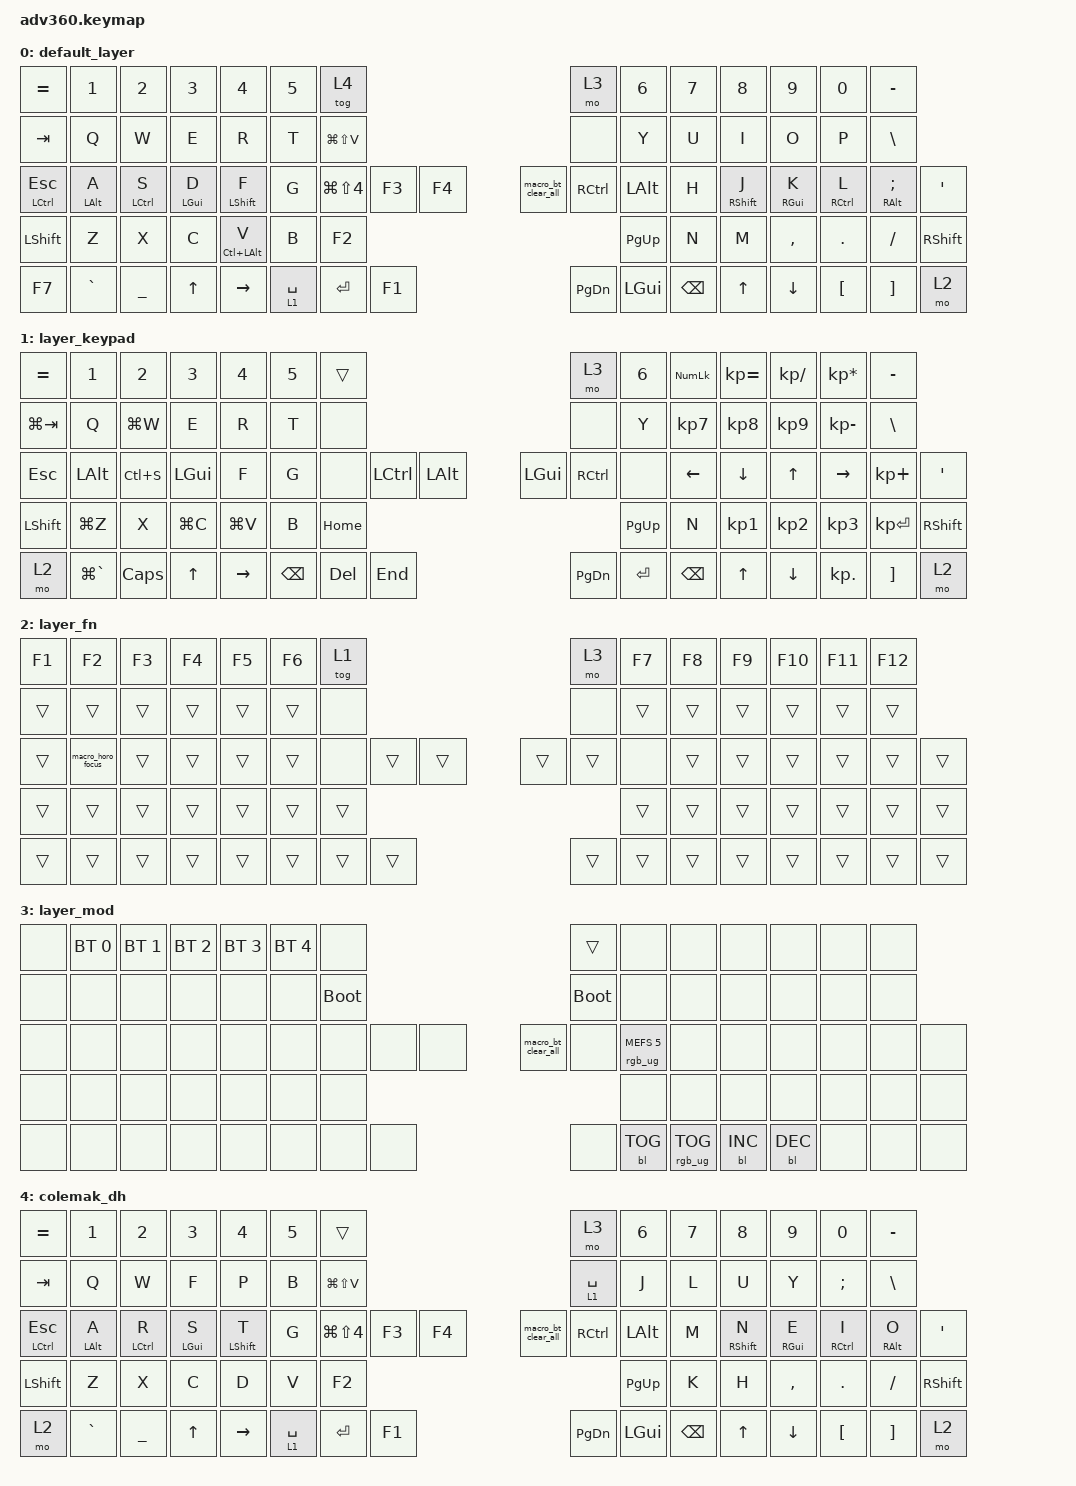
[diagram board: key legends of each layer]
/*
 * Copyright (c) 2020 The ZMK Contributors
 *
 * SPDX-License-Identifier: MIT
 */


/* THIS FILE WAS GENERATED!
 *
 * This file was generated automatically. You may or may not want to
 * edit it directly.
 */

#include <behaviors.dtsi>
#include <dt-bindings/zmk/keys.h>
#include <dt-bindings/zmk/bt.h>
#include <dt-bindings/zmk/rgb.h>
#include <dt-bindings/zmk/backlight.h>

#define KEYS_LEFT 0 1 2 3 4 5 6 \
                  14 15 16 17 18 19 20 \
                  28 29 30 31 32 33 34 \
                  46 47 48 49 50 51 \
                  66 67 68 69 70

#define KEYS_RIGHT 7 8 9 10 11 12 13 \
                   21 22 23 24 25 26 27 \
                   39 40 41 42 43 44 45 \
                   60 61 62 63 64 65 \
                   77 78 79 80 81

#define UNIVERSAL  14 67


#define THUMBS_LEFT 35 36 54 71 72 73

#define THUMBS_RIGHT 37 38 57 74 75 76

#define THUMBS THUMBS_LEFT THUMBS_RIGHT


&lt {
    quick-tap-ms = <300>;
    global-quick-tap;
};

/ {
  behaviors {
    #include "macros.dtsi"


    hm: homerow_mods {
        compatible = "zmk,behavior-hold-tap";
        label = "HOMEROW_MODS";
        #binding-cells = <2>;
        tapping-term-ms = <200>;
        quick_tap_ms = <175>;
        #flavor = "tap-preferred";
        flavor = "balanced";
        bindings = <&kp>, <&kp>;
    };

    hm_l: homerow_mods_left {
        compatible = "zmk,behavior-hold-tap";
        label = "HOMEROW_MODS_LEFT";
        #binding-cells = <2>;
        tapping-term-ms = <200>;
        quick_tap_ms = <175>;
        flavor = "balanced";
        bindings = <&kp>, <&kp>;
        hold-trigger-key-positions = <KEYS_RIGHT THUMBS UNIVERSAL>;
    };

    hm_r: homerow_mods_right {
        compatible = "zmk,behavior-hold-tap";
        label = "HOMEROW_MODS_RIGHT";
        #binding-cells = <2>;
        tapping-term-ms = <200>;
        quick_tap_ms = <175>;
        flavor = "balanced";
        bindings = <&kp>, <&kp>;
        hold-trigger-key-positions = <KEYS_LEFT THUMBS>;
    };
  };

    // Home row mods QWERTY
    #define _F_SFT &hm_l LSHFT F  // Shift on index fingers
    #define _J_SFT &hm_r RSHFT J
    #define _D_CMD &hm_l LGUI D   // Command on middle fingers
    #define _K_CMD &hm_r RGUI K
    #define _S_CTL &hm_l LCTRL S  // Control on ring down
    #define _L_CTL &hm_r RCTRL L
    #define _A_OPT &hm_l LALT A   // Option on pinky finger
    #define _SEMICOLON_OPT &hm_r RALT SEMICOLON
    #define _V_CTRL_OPT &hm_l LC(LALT) V  // Control+Option when held, v when tapped

    // Home row mods Colemak-DH
    #define CM_T_SFT &hm_l LSHFT T  // Shift on index fingers
    #define CM_N_SFT &hm_r RSHFT N
    #define CM_S_CMD &hm_l LGUI S   // Command on middle fingers
    #define CM_E_CMD &hm_r RGUI E
    #define CM_R_CTL &hm_l LCTRL R  // Control on ring down
    #define CM_I_CTL &hm_r RCTRL I
    #define CM_A_OPT &hm_l LALT A   // Option on pinky finger
    #define CM_O_OPT &hm_r RALT O


    keymap {
        compatible = "zmk,keymap";


        default_layer {
            bindings = <
 &kp EQUAL          &kp N1          &kp N2            &kp N3     &kp N4    &kp N5     &tog 4                                                                         &mo 3      &kp N6    &kp N7   &kp N8     &kp N9     &kp N0          &kp MINUS
 &kp TAB            &kp Q           &kp W             &kp E      &kp R     &kp T      &kp LG(LS(V))                                                                  &none      &kp Y     &kp U    &kp I      &kp O      &kp P           &kp BSLH
 &mt LCTRL ESC      _A_OPT          _S_CTL            _D_CMD     _F_SFT    &kp G      &kp LG(LS(N4))  &kp F3       &kp F4                  &macro_bt_clear_all    &kp RCTRL   &kp LALT   &kp H     _J_SFT   _K_CMD     _L_CTL     _SEMICOLON_OPT  &kp SQT
 &kp LSHFT          &kp Z           &kp X             &kp C      _V_CTRL_OPT    &kp B                                   &kp F2                  &kp PG_UP                          &kp N     &kp M    &kp COMMA  &kp DOT    &kp FSLH        &kp RSHFT
 &kp F7             &kp GRAVE       &kp UNDERSCORE    &kp UP     &kp RIGHT            &lt 1 SPACE     &kp ENTER        &kp F1                  &kp PG_DN   &kp LGUI    &kp BSPC             &kp UP   &kp DOWN   &kp LBKT   &kp RBKT        &mo 2
            >;
        };

        layer_keypad {
            bindings = <
 &kp EQUAL    &kp N1     &kp N2        &kp N3     &kp N4      &kp N5   &trans                                                                &mo 3     &kp N6     &kp KP_NUM    &kp KP_EQUAL   &kp KP_DIVIDE  &kp KP_MULTIPLY  &kp MINUS
 &kp LG(TAB)      &kp Q      &kp LG(W)     &kp E      &kp R       &kp T    &none                                                                 &none     &kp Y      &kp KP_N7     &kp KP_N8      &kp KP_N9      &kp KP_MINUS     &kp BSLH
 &kp ESC      &kp LALT   &kp LC(S)     &kp LGUI   &kp F       &kp G    &none     &kp LCTRL  &kp LALT                   &kp LGUI  &kp RCTRL   &none     &kp LEFT   &kp DOWN      &kp UP         &kp RIGHT      &kp KP_PLUS      &kp SQT
 &kp LSHFT    &kp LG(Z)  &kp X         &kp LG(C)  &kp LG(V)   &kp B                         &kp HOME                   &kp PG_UP                       &kp N      &kp KP_N1     &kp KP_N2      &kp KP_N3      &kp KP_ENTER     &kp RSHFT
 &mo 2        &kp LG(GRAVE)  &kp CAPS      &kp UP     &kp RIGHT            &kp BSPC  &kp DEL    &kp END                    &kp PG_DN  &kp ENTER  &kp BSPC             &kp UP        &kp DOWN       &kp KP_DOT     &kp RBKT         &mo 2
            >;
        };

        layer_fn {
            bindings = <
 &kp F1  &kp F2  &kp F3  &kp F4  &kp F5  &kp F6            &tog 1                                                   &mo 3  &kp F7  &kp F8  &kp F9  &kp F10  &kp F11  &kp F12
 &trans  &trans  &trans  &trans  &trans  &trans             &none                                                   &none  &trans  &trans  &trans   &trans   &trans   &trans
 &trans  &macro_horo_focus  &trans  &trans  &trans  &trans             &none  &trans  &trans                  &trans  &trans   &none  &trans  &trans  &trans   &trans   &trans   &trans
 &trans  &trans  &trans  &trans  &trans  &trans                            &trans                  &trans                  &trans  &trans  &trans   &trans   &trans   &trans
 &trans  &trans  &trans  &trans  &trans                    &trans  &trans  &trans                  &trans  &trans  &trans          &trans  &trans   &trans   &trans   &trans
            >;
        };

        layer_mod {
            bindings = <
  &none  &bt BT_SEL 0  &bt BT_SEL 1  &bt BT_SEL 2  &bt BT_SEL 3  &bt BT_SEL 4                  &none                                                                          &trans   &none       &none       &none   &none   &none   &none
  &none         &none         &none         &none         &none         &none            &bootloader                                                                     &bootloader   &none       &none       &none   &none   &none   &none
  &none         &none         &none         &none         &none         &none                  &none   &none   &none                  &macro_bt_clear_all   &none  &rgb_ug RGB_MEFS_CMD 5   &none       &none       &none   &none   &none   &none
  &none         &none         &none         &none         &none         &none                                  &none                       &none                                       &none       &none       &none   &none   &none   &none
  &none         &none         &none         &none         &none                                &none   &none   &none                       &none  &bl BL_TOG         &rgb_ug RGB_TOG          &bl BL_INC  &bl BL_DEC   &none   &none   &none
            >;
        };

        /** https://colemakmods.github.io/mod-dh/ */
        colemak_dh {
            bindings = <
 &kp EQUAL       &kp N1          &kp N2            &kp N3     &kp N4    &kp N5     &trans                                                                       &mo 3              &kp N6    &kp N7   &kp N8     &kp N9    &kp N0          &kp MINUS
 &kp TAB         &kp Q           &kp W             &kp F      &kp P     &kp B      &kp LG(LS(V))                                                                &lt 1 SPACE        &kp J     &kp L    &kp U      &kp Y     &kp SEMICOLON   &kp BSLH
 &mt LCTRL ESC   CM_A_OPT        CM_R_CTL          CM_S_CMD   CM_T_SFT  &kp G      &kp LG(LS(N4))  &kp F3       &kp F4                  &macro_bt_clear_all    &kp RCTRL   &kp LALT           &kp M     CM_N_SFT CM_E_CMD   CM_I_CTL  CM_O_OPT        &kp SQT
 &kp LSHFT       &kp Z           &kp X             &kp C      &kp D     &kp V                                   &kp F2                  &kp PG_UP                                  &kp K     &kp H    &kp COMMA  &kp DOT   &kp FSLH        &kp RSHFT
 &mo 2           &kp GRAVE       &kp UNDERSCORE    &kp UP     &kp RIGHT            &lt 1 SPACE     &kp ENTER    &kp F1                  &kp PG_DN   &kp LGUI    &kp BSPC                     &kp UP   &kp DOWN   &kp LBKT  &kp RBKT        &mo 2
            >;
        };

    };
};
